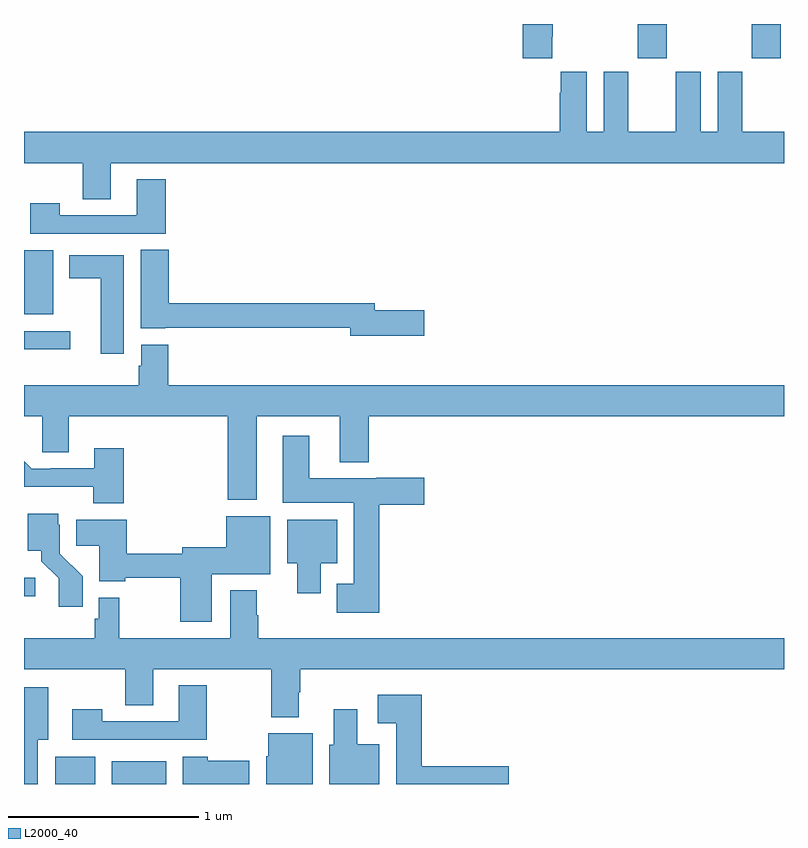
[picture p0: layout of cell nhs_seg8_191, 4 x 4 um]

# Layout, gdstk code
import gdstk
lib = gdstk.Library(unit=1e-6, precision=1e-09)
def R(c, l, rs):  # rectangles x0, y0, x1, y1
    for r in rs: c.add(gdstk.rectangle(r[:2], r[2:], *l))
def P(c, l, *ps):  # polygons
    for p in ps: c.add(gdstk.Polygon(p, *l))
L2000_40 = (2000, 40)

nhs_seg8_191 = lib.new_cell('nhs_seg8_191')
R(nhs_seg8_191, L2000_40, [(123.164,1111.9,123.376,1112.044), (123.461,1111.9,123.748,1112.02), (123,1112.887,123.058,1112.985), (123,1114.187,123.244,1114.284), (123,1114.373,123.154,1114.708), (126.229,1115.721,126.384,1115.9), (126.829,1115.721,126.984,1115.9)])
P(nhs_seg8_191, L2000_40, [(125.779,1115.833),(125.784,1115.833),(125.784,1115.9),(125.624,1115.9),(125.624,1115.721),(125.779,1115.721)],
  [(123.457,1115.168),(127,1115.168),(127,1115.332),(126.781,1115.332),(126.781,1115.65),(126.65,1115.65),(126.65,1115.332),(126.562,1115.332),(126.562,1115.65),(126.431,1115.65),(126.431,1115.332),(126.181,1115.332),(126.181,1115.65),(126.05,1115.65),(126.05,1115.332),(125.962,1115.332),(125.962,1115.65),(125.825,1115.65),(125.825,1115.537),(125.819,1115.537),(125.819,1115.332),(123,1115.332),(123,1115.168),(123.31,1115.168),(123.31,1114.978),(123.457,1114.978)],
  [(123.746,1115.083),(123.593,1115.083),(123.593,1114.893),(123.189,1114.893),(123.189,1114.957),(123.033,1114.957),(123.033,1114.797),(123.746,1114.797)],
  [(125.107,1114.394),(124.846,1114.394),(124.846,1114.43),(123.761,1114.43),(123.761,1114.712),(123.614,1114.712),(123.614,1114.298),(123.744,1114.298),(123.744,1114.302),(124.718,1114.302),(124.718,1114.259),(125.107,1114.259)],
  [(123.526,1114.684),(123.239,1114.684),(123.239,1114.562),(123.404,1114.562),(123.404,1114.164),(123.526,1114.164)],
  [(124.073,1113.395),(124.225,1113.395),(124.225,1113.836),(124.661,1113.836),(124.661,1113.593),(124.814,1113.593),(124.814,1113.836),(127,1113.836),(127,1114),(123.758,1114),(123.758,1114.213),(123.617,1114.213),(123.617,1114.101),(123.605,1114.101),(123.605,1114),(123,1114),(123,1113.836),(123.096,1113.836),(123.096,1113.646),(123.235,1113.646),(123.235,1113.836),(124.073,1113.836)],
  [(124.871,1113.371),(125.107,1113.371),(125.107,1113.513),(124.854,1113.513),(124.854,1113.508),(124.501,1113.508),(124.501,1113.733),(124.361,1113.733),(124.361,1113.38),(124.736,1113.38),(124.736,1112.953),(124.646,1112.953),(124.646,1112.801),(124.871,1112.801)],
  [(123.524,1113.667),(123.371,1113.667),(123.371,1113.561),(123.142,1113.561),(123.142,1113.558),(123.042,1113.558),(123,1113.6),(123,1113.464),(123.364,1113.464),(123.364,1113.377),(123.524,1113.377)],
  [(123.308,1112.994),(123.189,1113.113),(123.189,1113.264),(123.181,1113.264),(123.181,1113.322),(123.02,1113.322),(123.02,1113.128),(123.092,1113.128),(123.092,1113.073),(123.183,1112.983),(123.183,1112.832),(123.308,1112.832)],
  [(123.988,1113.005),(124.297,1113.005),(124.297,1113.31),(124.064,1113.31),(124.064,1113.146),(123.834,1113.146),(123.834,1113.113),(123.54,1113.113),(123.54,1113.292),(123.274,1113.292),(123.274,1113.154),(123.395,1113.154),(123.395,1112.966),(123.532,1112.966),(123.532,1112.985),(123.823,1112.985),(123.823,1112.754),(123.988,1112.754)],
  [(124.561,1113.062),(124.648,1113.062),(124.648,1113.292),(124.385,1113.292),(124.385,1113.062),(124.439,1113.062),(124.439,1112.904),(124.561,1112.904)],
  [(124.447,1112.384),(124.455,1112.384),(124.455,1112.504),(127,1112.504),(127,1112.668),(124.233,1112.668),(124.233,1112.789),(124.225,1112.789),(124.225,1112.92),(124.085,1112.92),(124.085,1112.668),(123.502,1112.668),(123.502,1112.881),(123.393,1112.881),(123.393,1112.769),(123.373,1112.769),(123.373,1112.668),(123,1112.668),(123,1112.504),(123.532,1112.504),(123.532,1112.314),(123.679,1112.314),(123.679,1112.504),(124.3,1112.504),(124.3,1112.252),(124.447,1112.252)],
  [(123.963,1112.419),(123.815,1112.419),(123.815,1112.229),(123.411,1112.229),(123.411,1112.293),(123.255,1112.293),(123.255,1112.133),(123.963,1112.133)],
  [(123.073,1112.132),(123.127,1112.132),(123.127,1112.41),(123,1112.41),(123,1111.9),(123.073,1111.9)],
  [(125.551,1111.994),(125.093,1111.994),(125.093,1112.371),(124.863,1112.371),(124.863,1112.219),(124.958,1112.219),(124.958,1111.9),(125.551,1111.9)],
  [(124.87,1112.11),(124.753,1112.11),(124.753,1112.293),(124.631,1112.293),(124.631,1112.106),(124.607,1112.106),(124.607,1111.9),(124.87,1111.9)],
  [(124.519,1112.167),(124.286,1112.167),(124.286,1112.046),(124.274,1112.046),(124.274,1111.9),(124.519,1111.9)],
  [(124.186,1112.023),(123.966,1112.023),(123.966,1112.044),(123.836,1112.044),(123.836,1111.9),(124.186,1111.9)])

lib.write_gds('nhs_seg8_191.gds')
